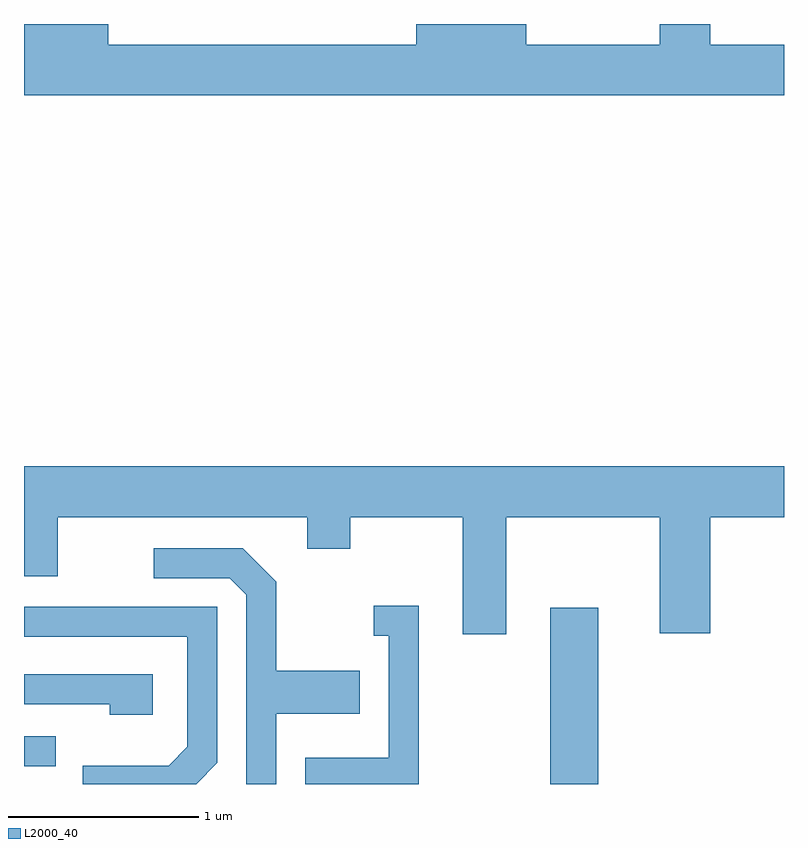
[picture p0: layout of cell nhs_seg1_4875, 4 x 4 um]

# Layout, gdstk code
import gdstk
lib = gdstk.Library(unit=1e-6, precision=1e-09)
def R(c, l, rs):  # rectangles x0, y0, x1, y1
    for r in rs: c.add(gdstk.rectangle(r[:2], r[2:], *l))
def P(c, l, *ps):  # polygons
    for p in ps: c.add(gdstk.Polygon(p, *l))
L2000_40 = (2000, 40)

nhs_seg1_4875 = lib.new_cell('nhs_seg1_4875')
R(nhs_seg1_4875, L2000_40, [(334.381,913.712,334.634,914.639), (331.611,913.806,331.778,913.964)])
P(nhs_seg1_4875, L2000_40, [(335.611,917.604),(335.224,917.604),(335.224,917.712),(334.956,917.712),(334.956,917.604),(334.254,917.604),(334.254,917.712),(333.676,917.712),(333.676,917.604),(332.054,917.604),(332.054,917.712),(331.611,917.712),(331.611,917.336),(335.611,917.336)],
  [(334.149,915.116),(334.956,915.116),(334.956,914.506),(335.224,914.506),(335.224,915.116),(335.611,915.116),(335.611,915.384),(331.611,915.384),(331.611,914.806),(331.789,914.806),(331.789,915.116),(333.101,915.116),(333.101,914.951),(333.329,914.951),(333.329,915.116),(333.921,915.116),(333.921,914.501),(334.149,914.501)],
  [(332.939,914.081),(333.379,914.081),(333.379,914.309),(332.939,914.309),(332.939,914.777),(332.762,914.954),(332.293,914.954),(332.293,914.796),(332.694,914.796),(332.781,914.709),(332.781,913.712),(332.939,913.712)],
  [(333.689,914.649),(333.453,914.649),(333.453,914.491),(333.531,914.491),(333.531,913.849),(333.091,913.849),(333.091,913.712),(333.689,913.712)],
  [(332.629,913.824),(332.629,914.644),(331.611,914.644),(331.611,914.486),(332.471,914.486),(332.471,913.907),(332.374,913.809),(331.921,913.809),(331.921,913.712),(332.518,913.712)],
  [(332.289,914.289),(331.611,914.289),(331.611,914.131),(332.061,914.131),(332.061,914.076),(332.289,914.076)])

lib.write_gds('nhs_seg1_4875.gds')
